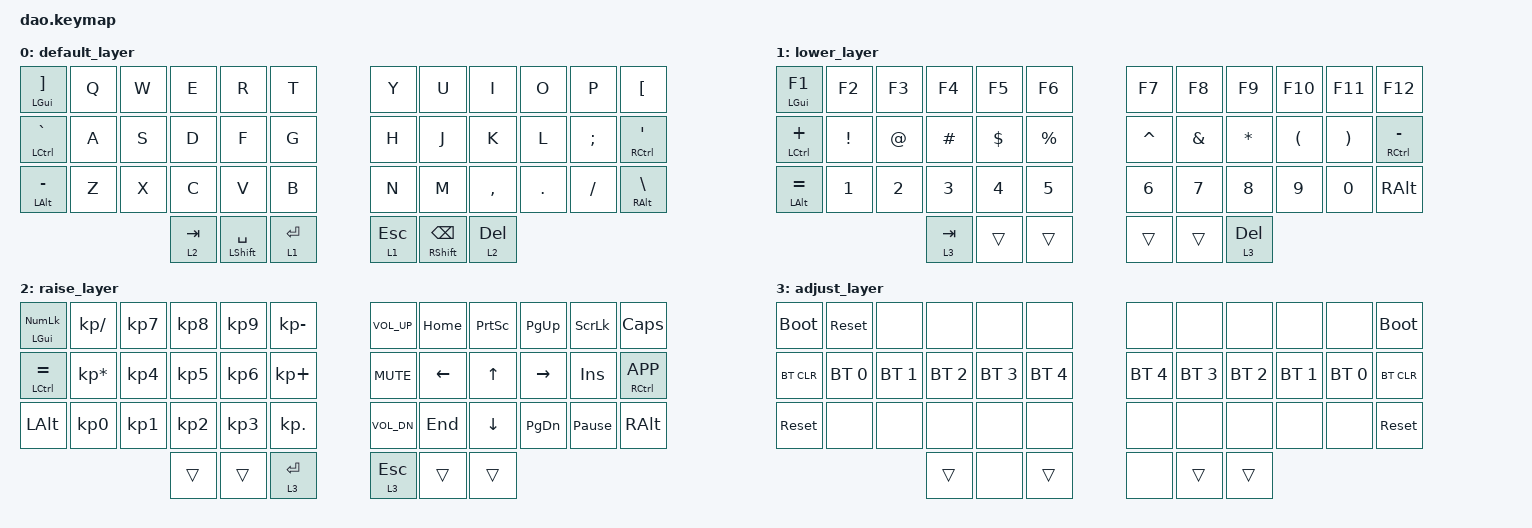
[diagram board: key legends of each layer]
/*
 * Copyright (c) 2023 ZMK Contributors
 *
 * SPDX-License-Identifier: MIT
 */

#include <behaviors.dtsi>
#include <dt-bindings/zmk/keys.h>
#include <dt-bindings/zmk/bt.h>

#define DEF 0
#define LWR 1
#define RSE 2
#define ADJ 3

&lt {
    quick-tap-ms = <220>;
};

&mt {
    quick-tap-ms = <220>;
};

/ {
  chosen {
    zmk,matrix_transform = &default_transform;
    //zmk,matrix_transform = &extra_keys_transform;
  };
};

/ {
    keymap {
        compatible = "zmk,keymap";

        default_layer {
            // | CMD/[  |  Q  |  W  |  E  |  R  |  T  |   |  Y  |  U   |  I  |  O  |  P  | [      |
            // | CTRL/` |  A  |  S  |  D  |  F  |  G  |   |  H  |  J   |  K  |  L  |  ;  | CTRL/' |
            // | ALT/-  |  Z  |  X  |  C  |  V  |  B  |   |  N  |  M   |  ,  |  .  |  /  | ALT/\  |
            //         | RSE/TAB | SHFT/SPC | LWR/RET |   | LWR/ESC | SHFT/BKSP  | RSE/DEL |

            bindings = <
    &mt LGUI RBKT   &kp Q   &kp W      &kp E            &kp R      &kp T      &kp Y           &kp U      &kp I    &kp O     &kp P       &kp LBKT
  &mt LCTRL GRAVE   &kp A   &kp S      &kp D            &kp F      &kp G      &kp H           &kp J      &kp K    &kp L  &kp SEMI  &mt RCTRL SQT
   &mt LALT MINUS   &kp Z   &kp X      &kp C            &kp V      &kp B      &kp N           &kp M  &kp COMMA  &kp DOT  &kp FSLH  &mt RALT BSLH
                                   &lt 2 TAB  &mt LSHFT SPACE  &lt 1 RET  &lt 1 ESC  &mt RSHFT BSPC  &lt 2 DEL
            >;
        };

        lower_layer {
            // | CMD/F1 |  F2 |  F3 |  F4 |  F5 |  F6 |   |  F7 |  F8  |  F9 | F10 | F11 | F12    |
            // | CTRL/+ |  !  |  @  |  #  |  $  |  %  |   |  ^  |  &   |  *  |  (  |  )  | CTRL/- |
            // | ALT/=  |  1  |  2  |  3  |  4  |  5  |   |  6  |  7   |  8  |  9  |  0  | ALT |
            //                  | ADJ/TAB |     |     |   |     |      | ADJ/DEL |

            bindings = <
     &mt LGUI F1    &kp F2  &kp F3     &kp F4    &kp F5     &kp F6     &kp F7    &kp F8     &kp F9   &kp F10   &kp F11          &kp F12
  &mt LCTRL PLUS  &kp EXCL  &kp AT   &kp HASH  &kp DLLR  &kp PRCNT  &kp CARET  &kp AMPS   &kp STAR  &kp LPAR  &kp RPAR  &mt RCTRL MINUS
  &mt LALT EQUAL    &kp N1  &kp N2     &kp N3    &kp N4     &kp N5     &kp N6    &kp N7     &kp N8    &kp N9    &kp N0         &kp RALT
                                    &lt 3 TAB    &trans     &trans     &trans    &trans  &lt 3 DEL
            >;
        };

        raise_layer {
            //  | CMD/NLCK | / |  7  |  8  |  9  |  -  |   | VOL_UP | HOME | PSCRN | PGUP | SLCK |       CAPS |
            //  | CTRL/=   | * |  4  |  5  |  6  |  +  |   |   MUTE | LEFT |    UP | RHGT |  INS |CTRL/CTXMENU|
            //  | ALT      | 0 |  1  |  2  |  3  |  .  |   | VOL_DN |  END |  DOWN | PGDN | PAUS |        ALT |
            //                 |     |       | ADJ/ENT |   | ADJ/ESC |        |     |

            bindings = <
 &mt LGUI KP_NUM     &kp KP_SLASH  &kp KP_N7  &kp KP_N8  &kp KP_N9  &kp KP_MINUS  &kp C_VOL_UP  &kp HOME  &kp PSCRN  &kp PG_UP         &kp SLCK         &kp CLCK
 &mt LCTRL EQUAL  &kp KP_MULTIPLY  &kp KP_N4  &kp KP_N5  &kp KP_N6   &kp KP_PLUS    &kp C_MUTE  &kp LEFT     &kp UP  &kp RIGHT          &kp INS  &mt RCTRL K_APP
        &kp LALT        &kp KP_N0  &kp KP_N1  &kp KP_N2  &kp KP_N3    &kp KP_DOT  &kp C_VOL_DN   &kp END   &kp DOWN  &kp PG_DN  &kp PAUSE_BREAK         &kp RALT
                                   &trans     &trans     &lt 3 RET     &lt 3 ESC    &trans     &trans
            >;
        };

        adjust_layer {
            //  | BTLDR  |     |     |     |     |     |   |     |     |     |     |     |  BTLDR |
            //  | BT_CLR | BT0 | BT1 | BT2 | BT3 | BT4 |   | BT4 | BT3 | BT2 | BT1 | BT0 | BT_CLR |
            //  | RST    |     |     |     |     |     |   |     |     |     |     |     |    RST |
            //                       |     |     |     |   |     |     |     |

            bindings = <
 &bootloader        &sys_reset         &none         &none         &none         &none         &none         &none         &none         &none         &none  &bootloader
  &bt BT_CLR  &bt BT_SEL 0  &bt BT_SEL 1  &bt BT_SEL 2  &bt BT_SEL 3  &bt BT_SEL 4  &bt BT_SEL 4  &bt BT_SEL 3  &bt BT_SEL 2  &bt BT_SEL 1  &bt BT_SEL 0   &bt BT_CLR
      &sys_reset         &none         &none         &none         &none         &none         &none         &none         &none         &none         &none       &sys_reset
                    &trans         &none        &trans         &none        &trans        &trans
            >;
        };
    };
};
